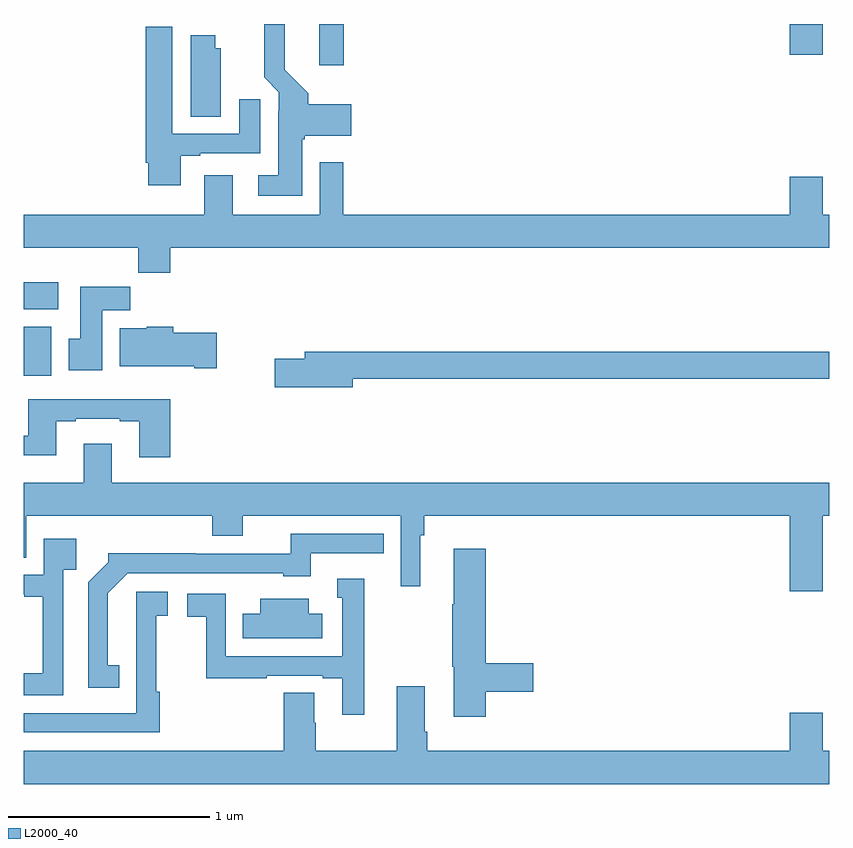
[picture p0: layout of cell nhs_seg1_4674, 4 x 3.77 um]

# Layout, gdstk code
import gdstk
lib = gdstk.Library(unit=1e-6, precision=1e-09)
def R(c, l, rs):  # rectangles x0, y0, x1, y1
    for r in rs: c.add(gdstk.rectangle(r[:2], r[2:], *l))
def P(c, l, *ps):  # polygons
    for p in ps: c.add(gdstk.Polygon(p, *l))
L2000_40 = (2000, 40)

nhs_seg1_4674 = lib.new_cell('nhs_seg1_4674')
R(nhs_seg1_4674, L2000_40, [(365,528.452,365.137,528.694), (365,528.782,365.17,528.916), (366.467,529.995,366.59,530.199), (368.804,530.046,368.968,530.199)])
P(nhs_seg1_4674, L2000_40, [(366.382,529.626),(366.396,529.626),(366.396,529.643),(366.625,529.643),(366.625,529.801),(366.413,529.801),(366.413,529.854),(366.295,529.972),(366.295,530.199),(366.193,530.199),(366.193,529.934),(366.267,529.86),(366.267,529.766),(366.263,529.766),(366.263,529.447),(366.165,529.447),(366.165,529.346),(366.382,529.346)],
  [(365.779,529.545),(365.875,529.545),(365.875,529.557),(366.175,529.557),(366.175,529.825),(366.071,529.825),(366.071,529.653),(365.737,529.653),(365.737,530.185),(365.606,530.185),(365.606,529.51),(365.618,529.51),(365.618,529.398),(365.779,529.398)],
  [(365.977,530.079),(365.95,530.079),(365.95,530.143),(365.828,530.143),(365.828,529.738),(365.977,529.738)],
  [(365.726,529.088),(369,529.088),(369,529.252),(368.968,529.252),(368.968,529.441),(368.804,529.441),(368.804,529.252),(366.587,529.252),(366.587,529.513),(366.471,529.513),(366.471,529.252),(366.037,529.252),(366.037,529.447),(365.897,529.447),(365.897,529.252),(365,529.252),(365,529.088),(365.569,529.088),(365.569,528.964),(365.726,528.964)],
  [(365.389,528.776),(365.528,528.776),(365.528,528.895),(365.279,528.895),(365.279,528.636),(365.222,528.636),(365.222,528.48),(365.389,528.48)],
  [(365.959,528.666),(365.741,528.666),(365.741,528.694),(365.61,528.694),(365.61,528.688),(365.477,528.688),(365.477,528.5),(365.846,528.5),(365.846,528.488),(365.959,528.488)],
  [(366.634,528.436),(369,528.436),(369,528.572),(366.395,528.572),(366.395,528.536),(366.246,528.536),(366.246,528.394),(366.634,528.394)],
  [(365.726,528.334),(365.021,528.334),(365.021,528.153),(365,528.153),(365,528.056),(365.161,528.056),(365.161,528.225),(365.257,528.225),(365.257,528.237),(365.477,528.237),(365.477,528.225),(365.573,528.225),(365.573,528.048),(365.726,528.048)],
  [(368.968,527.756),(369,527.756),(369,527.92),(365.437,527.92),(365.437,528.115),(365.297,528.115),(365.297,527.92),(365,527.92),(365,527.548),(365.011,527.548),(365.011,527.756),(365.936,527.756),(365.936,527.657),(366.088,527.657),(366.088,527.756),(366.873,527.756),(366.873,527.406),(366.97,527.406),(366.97,527.66),(366.989,527.66),(366.989,527.756),(368.804,527.756),(368.804,527.382),(368.968,527.382)],
  [(365.474,527.015),(365.416,527.015),(365.416,527.371),(365.517,527.472),(366.288,527.472),(366.288,527.456),(366.424,527.456),(366.424,527.571),(366.788,527.571),(366.788,527.667),(366.325,527.667),(366.325,527.568),(365.852,527.568),(365.852,527.57),(365.418,527.57),(365.418,527.525),(365.319,527.426),(365.319,526.902),(365.474,526.902)],
  [(365.196,527.489),(365.261,527.489),(365.261,527.641),(365.1,527.641),(365.1,527.463),(365,527.463),(365,527.367),(365.003,527.367),(365.003,527.355),(365.095,527.355),(365.095,526.975),(365,526.975),(365,526.866),(365.196,526.866)],
  [(367.295,526.882),(367.531,526.882),(367.531,527.024),(367.295,527.024),(367.295,527.593),(367.136,527.593),(367.136,527.318),(367.129,527.318),(367.129,527.007),(367.136,527.007),(367.136,526.758),(367.295,526.758)],
  [(366.691,527.443),(366.557,527.443),(366.557,527.349),(366.582,527.349),(366.582,527.058),(366.003,527.058),(366.003,527.37),(365.811,527.37),(365.811,527.254),(365.905,527.254),(365.905,526.95),(366.206,526.95),(366.206,526.962),(366.485,526.962),(366.485,526.95),(366.581,526.95),(366.581,526.767),(366.691,526.767)],
  [(365.675,526.883),(365.658,526.883),(365.658,527.259),(365.716,527.259),(365.716,527.38),(365.558,527.38),(365.558,527.104),(365.559,527.104),(365.559,526.776),(365,526.776),(365,526.68),(365.675,526.68)],
  [(366.481,527.269),(366.415,527.269),(366.415,527.344),(366.173,527.344),(366.173,527.269),(366.088,527.269),(366.088,527.147),(366.481,527.147)],
  [(369,526.588),(368.968,526.588),(368.968,526.777),(368.804,526.777),(368.804,526.588),(367.004,526.588),(367.004,526.684),(366.991,526.684),(366.991,526.909),(366.851,526.909),(366.851,526.588),(366.45,526.588),(366.45,526.727),(366.442,526.727),(366.442,526.877),(366.29,526.877),(366.29,526.588),(365,526.588),(365,526.424),(369,526.424)])

lib.write_gds('nhs_seg1_4674.gds')
